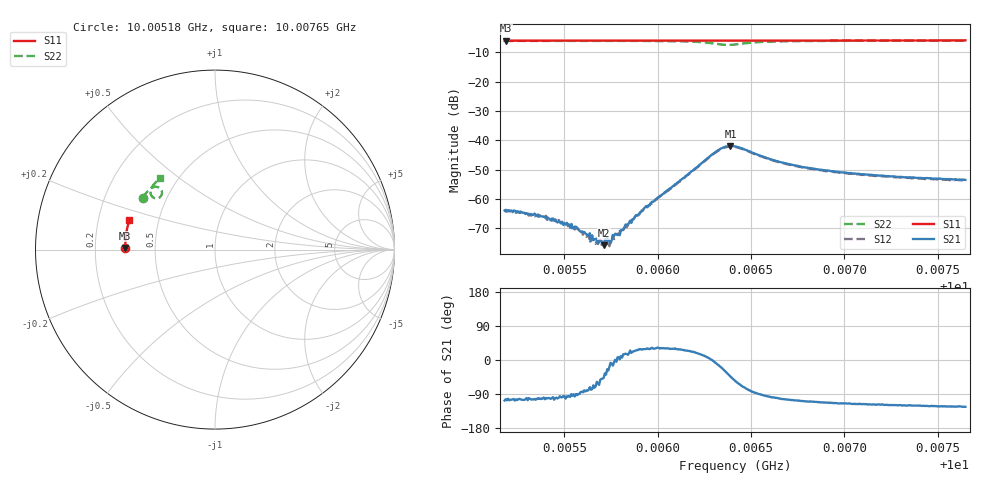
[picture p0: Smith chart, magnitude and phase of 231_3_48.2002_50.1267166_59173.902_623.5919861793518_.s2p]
#  HZ  S  RI  R  50.00
! Rohde & Schwarz Vector Network Analyzer
! Rohde-Schwarz,ZNB20-2Port,1311601062101988,3.16
! Created: UTC 3/20/2024, 11:46:22 AM
! freq[Hz]  re:S11  im:S11  re:S21  im:S21  re:S12  im:S12  re:S22  im:S22
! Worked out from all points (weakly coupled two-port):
!   401 points, 10.00518 GHz to 10.00765 GHz, reference 50 ohm
!   highest |S21| = -41.94 dB at 10.00639 GHz (marker M1); lowest = -75.9 dB at 10.00571 GHz (marker M2)
!   lowest |S11| = -6.0 dB at 10.00519 GHz (marker M3), VSWR 3.00, Z = 16.7 + j0.43 ohm
!   |S11| at or under -10 dB: nowhere
!   |S22| runs from -7.5 to -6.0 dB; largest |S21 - S12| = 0.00049
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1.000518e10  -0.5 0.00928  -0.000185 -0.000607  -0.000122 -0.000632  -0.4027 0.2885
1.0005186e10  -0.4999 0.00968  -0.000152 -0.000635  -0.000123 -0.000593  -0.4024 0.2889
1.000539e10  -0.4998 0.023  -7.6e-05 -0.000486  -9.87e-05 -0.000487  -0.3941 0.3011
1.0005476e10  -0.4999 0.0287  -3.85e-05 -0.000397  -4.24e-05 -0.000403  -0.3903 0.3062
1.0005551e10  -0.4996 0.0333  -1.64e-06 -0.00031  -9.31e-07 -0.000328  -0.387 0.3108
1.0005594e10  -0.4995 0.0362  2.92e-05 -0.000267  1.87e-05 -0.000278  -0.3851 0.3133
1.0005625e10  -0.4995 0.0382  3.66e-05 -0.000233  4.19e-05 -0.00024  -0.3835 0.3152
1.0005668e10  -0.4993 0.0411  7.04e-05 -0.000195  7.29e-05 -0.000153  -0.3813 0.3178
1.0005692e10  -0.4994 0.0427  0.000115 -0.00015  0.000154 -0.000131  -0.38 0.3195
1.0005711e10  -0.4993 0.0438  0.000109 -0.000118  0.000117 -0.000105  -0.3789 0.3206
1.0005748e10  -0.4991 0.0462  0.000174 -2.28e-05  0.000194 -5.08e-05  -0.377 0.323
1.0005773e10  -0.4989 0.0477  0.000254 2.29e-06  0.000226 -2.17e-05  -0.3755 0.3243
1.0005797e10  -0.4988 0.0495  0.00024 6.24e-06  0.000275 2.01e-06  -0.3741 0.3261
1.0005841e10  -0.4986 0.0521  0.000351 8.5e-05  0.000344 9.21e-05  -0.3713 0.329
1.0006007e10  -0.4977 0.063  0.000901 0.000564  0.000892 0.000596  -0.3582 0.3402
1.000631e10  -0.4949 0.0823  0.00624 -0.000768  0.00617 -0.000453  -0.2982 0.3304
1.000639e10  -0.4941 0.0869  0.00579 -0.00552  0.00597 -0.00506  -0.3095 0.2902
1.0006414e10  -0.494 0.0884  0.00454 -0.00642  0.00476 -0.00605  -0.3225 0.2855
1.0006618e10  -0.4925 0.1017  -0.000672 -0.00454  -0.000463 -0.00449  -0.3595 0.3244
1.0006828e10  -0.4901 0.1149  -0.00113 -0.00311  -0.000961 -0.00309  -0.3508 0.349
1.0007241e10  -0.4842 0.1409  -0.00117 -0.00212  -0.00106 -0.00216  -0.3296 0.3763
1.0007649e10  -0.477 0.1664  -0.00117 -0.00176  -0.00107 -0.0018  -0.3089 0.3966
